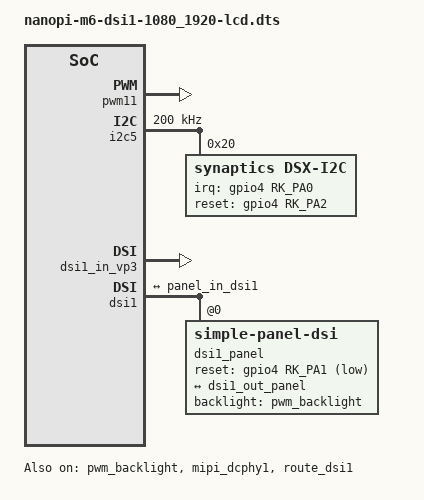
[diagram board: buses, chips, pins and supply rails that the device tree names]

/dts-v1/;
/plugin/;

#include <dt-bindings/interrupt-controller/irq.h>
#include <dt-bindings/gpio/gpio.h>
#include <dt-bindings/pinctrl/rockchip.h>
#include <dt-bindings/display/drm_mipi_dsi.h>

/ {
	fragment@0 {
		target = <&pwm_backlight>;

		__overlay__ {
			brightness-levels = <
        		  0  20  20  21  21  22  22  23
        		 23  24  24  25  25  26  26  27
        		 27  28  28  29  29  30  30  31
        		 31  32  32  33  33  34  34  35
        		 35  36  36  37  37  38  38  39
        		 40  41  42  43  44  45  46  47
        		 48  49  50  51  52  53  54  55
        		 56  57  58  59  60  61  62  63
        		 64  65  66  67  68  69  70  71
        		 72  73  74  75  76  77  78  79
        		 80  81  82  83  84  85  86  87
        		 88  89  90  91  92  93  94  95
        		 96  97  98  99 100 101 102 103
        		104 105 106 107 108 109 110 111
        		112 113 114 115 116 117 118 119
        		120 121 122 123 124 125 126 127
        		128 129 130 131 132 133 134 135
        		136 137 138 139 140 141 142 143
        		144 145 146 147 148 149 150 151
        		152 153 154 155 156 157 158 159
        		160 161 162 163 164 165 166 167
        		168 169 170 171 172 173 174 175
        		176 177 178 179 180 181 182 183
        		184 185 186 187 188 189 190 191
        		192 193 194 195 196 197 198 199
        		200 201 202 203 204 205 206 207
        		208 209 210 211 212 213 214 215
        		216 217 218 219 220 221 222 223
        		224 225 226 227 228 229 230 231
        		232 233 234 235 236 237 238 239
        		240 241 242 243 244 245 246 247
        		248 249 250 251 252 253 254 255
        	>;
        	default-brightness-level = <200>;
        	pwms = <&pwm11 0 25000 0>;
            status = "okay";
		};	
	};

	fragment@1 {
		target = <&pwm11>;

		__overlay__ {
			pinctrl-0 = <&pwm11m3_pins>;
			status = "okay";
		};
	};

	fragment@2 {
		target = <&mipi_dcphy1>;

		__overlay__ {
			status = "okay";
		};
	};

	fragment@3 {
		target = <&i2c5>;

		__overlay__ {
			clock-frequency = <200000>;
                	pinctrl-0 = <&i2c5m2_xfer>;
                	status = "okay";
                
                	synaptics@20 {
                                compatible = "synaptics,dsx-i2c";
                                reg = <0x20>;
                                synaptics,irq-gpio = <&gpio4 RK_PA0 IRQ_TYPE_EDGE_FALLING>; /* IRQF_ONESHOT | IRQF_TRIGGER_LOW */
                                synaptics,reset-gpio = <&gpio4 RK_PA2 GPIO_ACTIVE_HIGH>;
                                synaptics,irq-on-state = <0>;
                                synaptics,power-delay-ms = <200>;
                                synaptics,reset-delay-ms = <200>;
                                synaptics,reset-on-state = <0>;
                                synaptics,reset-active-ms = <20>;
                                status = "okay";
                        };
		};
	};


	fragment@4 {
		target = <&route_dsi1>;

		__overlay__ {
			connect = <&vp3_out_dsi1>;
			status = "okay";
		};
	};

	fragment@5 {
		target = <&dsi1_in_vp3>;

		__overlay__ {
			status = "okay";
		};
	};

	fragment@6 {
		target = <&dsi1>;

		__overlay__ {
			status = "okay";
        	dsi1_panel: panel@0 {
        		compatible = "simple-panel-dsi";
        		reg = <0>;
        
        		backlight = <&pwm_backlight>;
        		pinctrl-names = "default";
        		pinctrl-0 = <&lcd_rst1_gpio>;
        		reset-gpios = <&gpio4 RK_PA1 GPIO_ACTIVE_LOW>;
        		panel-name = "yx35,210dpi";
        		nvmems = <&i2c5 0x50 0xe0 0x10>;
        		nvmem-status = <1>;
        
        		reset-delay-ms = <20>;
        		init-delay-ms = <120>;
        		enable-delay-ms = <5>;
        		prepare-delay-ms = <0>;
        		unprepare-delay-ms = <10>;
        		disable-delay-ms = <5>;
        		width-mm = <45>;
        		height-mm = <75>;
        
        		dsi,flags = <(MIPI_DSI_MODE_VIDEO | MIPI_DSI_MODE_VIDEO_BURST | MIPI_DSI_MODE_LPM | MIPI_DSI_CLOCK_NON_CONTINUOUS)>;
        		dsi,format = <MIPI_DSI_FMT_RGB888>;
        		dsi,lanes  = <4>;
        		panel-init-sequence = [
                                15 78 02 11 00
				15 14 02 29 00
				15 00 02 51 FF
        		];
        
        		panel-exit-sequence = [
        			15 00 02 28 00
        			15 3C 02 10 00
        		];
        
        		display-timings {
        			native-mode = <&dsi1_timing0>;
        			dsi1_timing0: timing0 {
        				clock-frequency = <141000000>;// (1920+4+3+1)*(1080+96+33+12)*60=134800000
                                        hactive = <1080>;
					hfront-porch = <96>;

					hback-porch = <33>;
					hsync-len = <12>;

					vactive = <1920>;
					vfront-porch = <4>;
					vback-porch = <3>;
					vsync-len = <1>;

					hsync-active = <0>;
					vsync-active = <0>;
					de-active = <0>;
					pixelclk-active = <0>;
        			};
        		};
        
        		ports {
        			#address-cells = <1>;
        			#size-cells = <0>;
        
        			port@0 {
        				reg = <0>;
        				panel_in_dsi1: endpoint {
        					remote-endpoint = <&dsi1_out_panel>;
        				};
        			};
        		};
        	};
        
        	ports {
        		#address-cells = <1>;
        		#size-cells = <0>;
        
        		port@1 {
        			reg = <1>;
        			dsi1_out_panel: endpoint {
        				remote-endpoint = <&panel_in_dsi1>;
        			};
        		};
        	};
		};
	};
};
